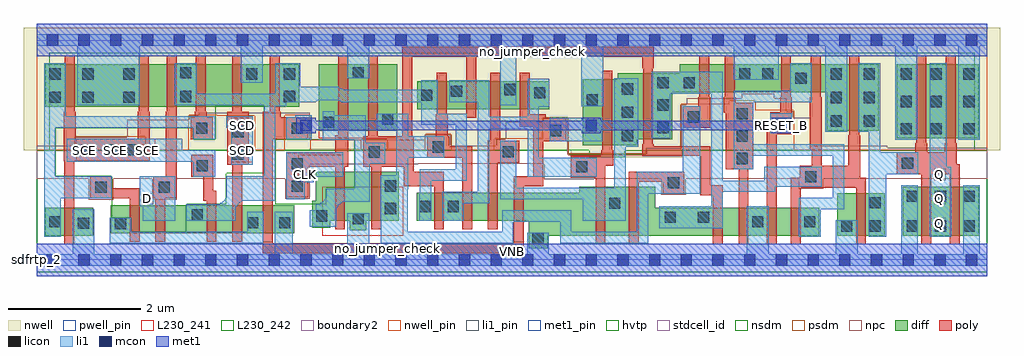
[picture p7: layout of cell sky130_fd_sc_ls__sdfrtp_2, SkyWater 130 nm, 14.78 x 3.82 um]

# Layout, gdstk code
import gdstk
lib = gdstk.Library(unit=1e-6, precision=1e-09)
def R(c, l, rs):  # rectangles x0, y0, x1, y1
    for r in rs: c.add(gdstk.rectangle(r[:2], r[2:], *l))
def A(c, l, x, y, w, h, nx, ny, dx, dy):  # array of equal rectangles
    R(c, l, [(x+i*dx, y+j*dy, x+i*dx+w, y+j*dy+h) for i in range(nx) for j in range(ny)])
def P(c, l, *ps):  # polygons
    for p in ps: c.add(gdstk.Polygon(p, *l))
nwell_pin = (64, 16)
nwell = (64, 20)
diff = (65, 20)
poly = (66, 20)
licon = (66, 44)
li1_pin = (67, 16)
li1 = (67, 20)
mcon = (67, 44)
met1_pin = (68, 16)
met1 = (68, 20)
hvtp = (78, 44)
stdcell_id = (81, 4)
nsdm = (93, 44)
psdm = (94, 20)
npc = (95, 20)
pwell_pin = (122, 16)
L230_241 = (230, 241)
L230_242 = (230, 242)
boundary2 = (236, 0)

sky130_fd_sc_ls__sdfrtp_ = lib.new_cell('sky130_fd_sc_ls__sdfrtp_2')
R(sky130_fd_sc_ls__sdfrtp_, nwell_pin, [(0,3.085,14.4,3.33)])
P(sky130_fd_sc_ls__sdfrtp_, nwell, [(14.59,3.52),(-0.19,3.52),(-0.19,1.66),(4.125,1.66),(4.125,1.675),(5.585,1.675),(5.585,1.66),(8.09,1.66),(8.09,1.555),(9.78,1.555),(9.78,1.66),(14.59,1.66)])
R(sky130_fd_sc_ls__sdfrtp_, diff, [(0.135,0.37,0.855,0.79), (12.125,0.37,12.845,1.01), (13.115,0.37,14.265,1.11), (1.125,0.405,3.905,0.825), (13.025,1.84,14.265,2.96), (4.275,1.96,5.465,2.96), (5.765,2.285,7.765,2.705), (0.135,2.32,3.975,2.96)])
P(sky130_fd_sc_ls__sdfrtp_, diff, [(5.485,1.335),(4.225,1.335),(4.225,0.9),(4.175,0.9),(4.175,0.49),(4.445,0.49),(4.445,0.595),(4.745,0.595),(4.745,0.45),(4.995,0.45),(4.995,0.595),(5.485,0.595)],
  [(12.755,2.96),(9.74,2.96),(9.74,2.83),(8.805,2.83),(8.805,2.735),(8.27,2.735),(8.27,1.735),(9.095,1.735),(9.095,1.83),(9.625,1.83),(9.625,2.54),(11.965,2.54),(11.965,1.96),(12.755,1.96)],
  [(11.855,0.79),(9.37,0.79),(9.37,1.11),(8.215,1.11),(8.215,1.015),(5.755,1.015),(5.755,0.595),(7.455,0.595),(7.455,0.18),(7.745,0.18),(7.745,0.37),(11.855,0.37)])
P(sky130_fd_sc_ls__sdfrtp_, poly, [(1.56,1.085),(1.14,1.085),(1.14,1.265),(0.81,1.265),(0.81,0.935),(1.41,0.935),(1.41,0.275),(1.56,0.275)],
  [(2.725,1.05),(2.675,1.05),(2.675,1.59),(2.345,1.59),(2.345,1.26),(2.525,1.26),(2.525,0.9),(2.575,0.9),(2.575,0.275),(2.725,0.275)],
  [(2.665,2.16),(2.575,2.16),(2.575,2.245),(2.56,2.245),(2.56,3.09),(2.41,3.09),(2.41,2.245),(2.395,2.245),(2.395,2.16),(2.335,2.16),(2.335,1.83),(2.665,1.83)],
  [(2.125,2.245),(2.12,2.245),(2.12,3.09),(1.97,3.09),(1.97,2.245),(1.955,2.245),(1.955,1.265),(1.77,1.265),(1.77,0.935),(1.8,0.935),(1.8,0.275),(1.95,0.275),(1.95,0.935),(2.125,0.935)],
  [(13.98,1.45),(13.935,1.45),(13.935,1.765),(13.92,1.765),(13.92,3.09),(13.77,3.09),(13.77,1.765),(13.755,1.765),(13.755,1.63),(13.485,1.63),(13.485,1.765),(13.47,1.765),(13.47,3.09),(13.32,3.09),(13.32,1.765),(13.305,1.765),(13.305,1.63),(13.025,1.63),(13.025,1.3),(13.4,1.3),(13.4,0.24),(13.55,0.24),(13.55,1.3),(13.83,1.3),(13.83,0.24),(13.98,0.24)],
  [(8.73,1.66),(8.715,1.66),(8.715,2.865),(8.565,2.865),(8.565,1.66),(8.55,1.66),(8.55,1.575),(8.09,1.575),(8.09,1.245),(8.465,1.245),(8.465,0.24),(8.615,0.24),(8.615,1.425),(8.73,1.425)],
  [(12.56,1.245),(12.475,1.245),(12.475,1.885),(12.46,1.885),(12.46,3.09),(12.31,3.09),(12.31,1.885),(12.295,1.885),(12.295,1.425),(11.89,1.425),(11.89,2.465),(11.875,2.465),(11.875,3.09),(11.725,3.09),(11.725,2.465),(11.71,2.465),(11.71,1.665),(11.74,1.665),(11.74,1.425),(11.56,1.425),(11.56,1.245),(11.42,1.245),(11.42,0.24),(11.57,0.24),(11.57,1.095),(12.41,1.095),(12.41,0.24),(12.56,0.24)],
  [(9.81,1.335),(8.97,1.335),(8.97,0.24),(9.12,0.24),(9.12,1.185),(9.48,1.185),(9.48,1.005),(9.81,1.005)],
  [(1.715,2.245),(1.7,2.245),(1.7,3.09),(1.55,3.09),(1.55,2.245),(1.535,2.245),(1.535,1.835),(0.595,1.835),(0.595,2.245),(0.58,2.245),(0.58,3.09),(0.43,3.09),(0.43,2.245),(0.415,2.245),(0.415,1.505),(0.42,1.505),(0.42,0.24),(0.57,0.24),(0.57,1.505),(1.715,1.505)],
  [(3.215,2.245),(3.11,2.245),(3.11,3.09),(2.96,3.09),(2.96,2.245),(2.885,2.245),(2.885,1.44),(2.965,1.44),(2.965,0.275),(3.115,0.275),(3.115,1.44),(3.215,1.44)],
  [(4.72,3.09),(4.57,3.09),(4.57,1.885),(4.52,1.885),(4.52,1.62),(3.785,1.62),(3.785,0.95),(4.115,0.95),(4.115,1.41),(4.52,1.41),(4.52,0.465),(4.67,0.465),(4.67,1.41),(4.72,1.41)],
  [(6.6,1.725),(6.25,1.725),(6.25,1.875),(6.225,1.875),(6.225,2.21),(6.21,2.21),(6.21,2.835),(6.06,2.835),(6.06,2.21),(6.045,2.21),(6.045,1.875),(5.92,1.875),(5.92,1.545),(6.45,1.545),(6.45,0.465),(6.6,0.465)],
  [(11.44,2.465),(11.425,2.465),(11.425,3.09),(11.275,3.09),(11.275,2.465),(11.26,2.465),(11.26,2.235),(11.11,2.235),(11.11,2.055),(11.06,2.055),(11.06,0.24),(11.21,0.24),(11.21,1.905),(11.44,1.905)],
  [(10.85,2.38),(10.59,2.38),(10.59,2.465),(10.575,2.465),(10.575,3.09),(10.425,3.09),(10.425,2.465),(10.41,2.465),(10.41,2.23),(10.44,2.23),(10.44,1.37),(10.63,1.37),(10.63,0.24),(10.78,0.24),(10.78,1.37),(10.85,1.37)],
  [(10.39,1.13),(10.2,1.13),(10.2,1.725),(9.35,1.725),(9.35,1.755),(9.335,1.755),(9.335,2.905),(9.35,2.905),(9.35,3.225),(5.54,3.225),(5.54,1.875),(5.17,1.875),(5.17,3.09),(5.02,3.09),(5.02,1.875),(4.95,1.875),(4.95,1.41),(5.07,1.41),(5.07,0.465),(5.22,0.465),(5.22,1.41),(5.56,1.41),(5.56,1.115),(6.02,1.115),(6.02,0.465),(6.17,0.465),(6.17,1.335),(5.71,1.335),(5.71,1.875),(5.69,1.875),(5.69,3.075),(6.51,3.075),(6.51,2.155),(6.66,2.155),(6.66,3.075),(9.17,3.075),(9.17,2.905),(9.185,2.905),(9.185,1.755),(9.17,1.755),(9.17,1.575),(10.05,1.575),(10.05,0.98),(10.24,0.98),(10.24,0.24),(10.39,0.24)],
  [(7.31,1.805),(7.02,1.805),(7.02,2.835),(6.87,2.835),(6.87,1.805),(6.835,1.805),(6.835,0.465),(6.985,0.465),(6.985,1.475),(7.31,1.475)],
  [(10.2,2.465),(10.185,2.465),(10.185,3.09),(10.035,3.09),(10.035,2.465),(10.02,2.465),(10.02,2.33),(9.785,2.33),(9.785,2),(10.2,2)],
  [(8.025,2.145),(7.71,2.145),(7.71,2.21),(7.47,2.21),(7.47,2.835),(7.32,2.835),(7.32,2.015),(7.52,2.015),(7.52,1.265),(7.225,1.265),(7.225,0.255),(3.575,0.255),(3.575,1.83),(4.095,1.83),(4.095,1.85),(4.115,1.85),(4.115,2.16),(3.695,2.16),(3.695,2.245),(3.68,2.245),(3.68,3.09),(3.53,3.09),(3.53,2.245),(3.425,2.245),(3.425,0.105),(7.375,0.105),(7.375,1.115),(7.67,1.115),(7.67,1.795),(8.025,1.795)])
A(sky130_fd_sc_ls__sdfrtp_, licon, 13.175, 0.43, 0.17, 0.17, 3, 2, 0.43, 0.45)
A(sky130_fd_sc_ls__sdfrtp_, licon, 10.6, 1.45, 0.17, 0.17, 1, 3, 0, 0.34)
A(sky130_fd_sc_ls__sdfrtp_, licon, 0.685, 1.585, 0.17, 0.17, 3, 1, 0.34, 0)
A(sky130_fd_sc_ls__sdfrtp_, licon, 8.865, 1.795, 0.17, 0.17, 1, 3, 0, 0.355)
A(sky130_fd_sc_ls__sdfrtp_, licon, 13.085, 1.9, 0.17, 0.17, 1, 3, 0, 0.415)
A(sky130_fd_sc_ls__sdfrtp_, licon, 13.535, 1.9, 0.17, 0.17, 1, 3, 0, 0.415)
A(sky130_fd_sc_ls__sdfrtp_, licon, 14.035, 1.9, 0.17, 0.17, 1, 3, 0, 0.415)
A(sky130_fd_sc_ls__sdfrtp_, licon, 9.4, 1.92, 0.17, 0.17, 1, 3, 0, 0.34)
A(sky130_fd_sc_ls__sdfrtp_, licon, 12.025, 2.02, 0.17, 0.17, 1, 3, 0, 0.355)
A(sky130_fd_sc_ls__sdfrtp_, licon, 12.525, 2.02, 0.17, 0.17, 1, 3, 0, 0.355)
R(sky130_fd_sc_ls__sdfrtp_, licon, [(7.51,0.24,7.68,0.41), (12.185,0.43,12.355,0.6), (12.615,0.43,12.785,0.6), (1.185,0.465,1.355,0.635), (0.625,0.47,0.795,0.64), (3.19,0.48,3.36,0.65), (3.675,0.48,3.845,0.65), (0.195,0.495,0.365,0.665), (10.835,0.495,11.005,0.665), (11.625,0.495,11.795,0.665), (4.785,0.54,4.955,0.71), (9.51,0.56,9.68,0.73), (10.015,0.56,10.185,0.73), (4.235,0.58,4.405,0.75), (2.35,0.595,2.52,0.765), (5.275,0.695,5.445,0.865), (5.795,0.725,5.965,0.895), (6.225,0.725,6.395,0.895), (8.67,0.775,8.84,0.945), (12.615,0.78,12.785,0.95), (0.89,1.015,1.06,1.185), (1.85,1.015,2.02,1.185), (3.865,1.03,4.035,1.2), (5.275,1.035,5.445,1.205), (9.56,1.085,9.73,1.255), (11.64,1.175,11.81,1.345), (8.17,1.325,8.34,1.495), (2.425,1.34,2.595,1.51), (3.865,1.37,4.035,1.54), (13.105,1.38,13.275,1.55), (2.965,1.52,3.135,1.69), (5.03,1.55,5.2,1.72), (7.06,1.555,7.23,1.725), (6,1.625,6.17,1.795), (2.965,1.86,3.135,2.03), (7.775,1.875,7.945,2.045), (2.415,1.91,2.585,2.08), (3.865,1.91,4.035,2.08), (11.19,1.985,11.36,2.155), (4.335,2,4.505,2.17), (5.235,2.045,5.405,2.215), (9.865,2.08,10.035,2.25), (8.33,2.34,8.5,2.51), (0.195,2.38,0.365,2.55), (0.695,2.38,0.865,2.55), (1.315,2.38,1.485,2.55), (2.175,2.39,2.345,2.56), (3.745,2.39,3.915,2.56), (5.825,2.41,5.995,2.58), (7.535,2.445,7.705,2.615), (6.275,2.47,6.445,2.64), (7.085,2.495,7.255,2.665), (9.8,2.6,9.97,2.77), (11.49,2.665,11.66,2.835), (0.195,2.73,0.365,2.9), (0.695,2.73,0.865,2.9), (1.315,2.73,1.485,2.9), (3.175,2.73,3.345,2.9), (3.745,2.73,3.915,2.9), (10.64,2.73,10.81,2.9), (10.99,2.73,11.16,2.9), (2.175,2.75,2.345,2.92), (4.785,2.75,4.955,2.92)])
A(sky130_fd_sc_ls__sdfrtp_, li1_pin, 13.595, 0.47, 0.17, 0.17, 1, 3, 0, 0.37)
A(sky130_fd_sc_ls__sdfrtp_, li1_pin, 0.635, 1.58, 0.17, 0.17, 3, 1, 0.48, 0)
R(sky130_fd_sc_ls__sdfrtp_, li1_pin, [(1.595,0.84,1.765,1.01), (3.995,1.21,4.165,1.38), (3.035,1.58,3.205,1.75), (3.035,1.95,3.205,2.12)])
R(sky130_fd_sc_ls__sdfrtp_, li1, [(7.775,1.795,8.57,2.15), (11.11,1.92,11.44,2.22)])
P(sky130_fd_sc_ls__sdfrtp_, li1, [(8.485,1.545),(7.605,1.545),(7.605,2.32),(7.765,2.32),(7.765,2.745),(7.435,2.745),(7.435,2.165),(6.855,2.165),(6.855,2.725),(6.25,2.725),(6.25,2.385),(6.685,2.385),(6.685,1.03),(6.145,1.03),(6.145,0.595),(6.47,0.595),(6.47,0.86),(6.855,0.86),(6.855,1.985),(7.435,1.985),(7.435,1.26),(8.485,1.26)],
  [(10.05,2.33),(9.785,2.33),(9.785,1.335),(9.09,1.335),(9.09,0.425),(8.1,0.425),(8.1,0.75),(7.05,0.75),(7.05,0.425),(5.62,0.425),(5.62,1.07),(5.63,1.07),(5.63,1.545),(6.175,1.545),(6.175,1.875),(5.63,1.875),(5.63,2.215),(5.155,2.215),(5.155,1.955),(5.45,1.955),(5.45,1.285),(5.215,1.285),(5.215,0.255),(7.22,0.255),(7.22,0.58),(7.93,0.58),(7.93,0.255),(9.26,0.255),(9.26,1.005),(10.05,1.005)],
  [(3.43,0.73),(3.19,0.73),(3.19,0.425),(1.435,0.425),(1.435,0.64),(1.105,0.64),(1.105,0.255),(3.43,0.255)],
  [(4.165,2.19),(3.92,2.19),(3.92,2.16),(3.785,2.16),(3.785,1.83),(4.165,1.83)],
  [(11.89,1.41),(11.02,1.41),(11.02,1.2),(10.39,1.2),(10.39,2.85),(9.32,2.85),(9.32,1.84),(9.6,1.84),(9.6,2.52),(10.22,2.52),(10.22,0.81),(9.43,0.81),(9.43,0.48),(10.39,0.48),(10.39,1.03),(11.19,1.03),(11.19,1.11),(11.89,1.11)],
  [(2.1,1.265),(1.565,1.265),(1.565,0.81),(1.605,0.81),(1.605,0.595),(2.1,0.595)],
  [(2.705,2.175),(0.445,2.175),(0.445,2.98),(0.115,2.98),(0.115,0.35),(0.365,0.35),(0.365,0.935),(1.14,0.935),(1.14,1.265),(0.285,1.265),(0.285,2.005),(2.375,2.005),(2.375,1.83),(2.705,1.83)],
  [(6.515,2.215),(6.075,2.215),(6.075,2.725),(5.825,2.725),(5.825,2.58),(4.645,2.58),(4.645,2.585),(4.63,2.585),(4.63,2.59),(4.61,2.59),(4.61,2.6),(4.58,2.6),(4.58,2.62),(3.995,2.62),(3.995,2.98),(3.615,2.98),(3.615,2.515),(2.425,2.515),(2.425,2.98),(2.095,2.98),(2.095,2.345),(3.445,2.345),(3.445,1.27),(2.875,1.27),(2.875,0.935),(2.855,0.935),(2.855,0.91),(2.84,0.91),(2.84,0.89),(2.83,0.89),(2.83,0.88),(2.81,0.88),(2.81,0.865),(2.785,0.865),(2.785,0.845),(2.27,0.845),(2.27,0.595),(3.02,0.595),(3.02,0.81),(3.04,0.81),(3.04,0.835),(3.055,0.835),(3.055,0.855),(3.065,0.855),(3.065,0.865),(3.085,0.865),(3.085,0.88),(3.11,0.88),(3.11,0.9),(3.615,0.9),(3.615,2.33),(3.785,2.33),(3.785,2.385),(4.23,2.385),(4.23,2.4),(4.25,2.4),(4.25,2.42),(4.555,2.42),(4.555,2.415),(4.57,2.415),(4.57,2.41),(4.59,2.41),(4.59,2.4),(4.615,2.4),(4.615,2.385),(5.825,2.385),(5.825,2.045),(6.345,2.045),(6.345,1.37),(5.8,1.37),(5.8,0.995),(5.795,0.995),(5.795,0.595),(5.975,0.595),(5.975,1.2),(6.515,1.2)],
  [(14.4,0.085),(14.285,0.085),(14.285,1.13),(14.035,1.13),(14.035,0.085),(13.345,0.085),(13.345,1.13),(13.095,1.13),(13.095,0.085),(12.435,0.085),(12.435,0.6),(12.105,0.6),(12.105,0.085),(11.085,0.085),(11.085,0.81),(10.755,0.81),(10.755,0.085),(7.76,0.085),(7.76,0.41),(7.43,0.41),(7.43,0.085),(5.035,0.085),(5.035,0.71),(4.705,0.71),(4.705,0.085),(3.88,0.085),(3.88,0.73),(3.61,0.73),(3.61,0.085),(0.875,0.085),(0.875,0.765),(0.545,0.765),(0.545,0.085),(0,0.085),(0,-0.085),(14.4,-0.085)],
  [(5.28,1.775),(4.985,1.775),(4.985,2.195),(4.505,2.195),(4.505,2.25),(4.335,2.25),(4.335,1.82),(4.815,1.82),(4.815,1.08),(4.39,1.08),(4.39,0.935),(4.37,0.935),(4.37,0.91),(4.355,0.91),(4.355,0.89),(4.345,0.89),(4.345,0.88),(4.325,0.88),(4.325,0.865),(4.3,0.865),(4.3,0.845),(4.23,0.845),(4.23,0.75),(4.135,0.75),(4.135,0.5),(4.535,0.5),(4.535,0.79),(4.555,0.79),(4.555,0.815),(4.57,0.815),(4.57,0.835),(4.58,0.835),(4.58,0.845),(4.6,0.845),(4.6,0.86),(4.625,0.86),(4.625,0.88),(5.045,0.88),(5.045,1.455),(5.28,1.455)],
  [(9.115,2.755),(8.75,2.755),(8.75,1.09),(7.265,1.09),(7.265,1.805),(7.025,1.805),(7.025,0.92),(8.27,0.92),(8.27,0.595),(8.92,0.595),(8.92,1.715),(9.115,1.715)],
  [(4.645,1.63),(3.785,1.63),(3.785,0.92),(4.06,0.92),(4.06,1.18),(4.195,1.18),(4.195,1.26),(4.645,1.26)],
  [(2.705,1.66),(2.205,1.66),(2.205,1.835),(0.455,1.835),(0.455,1.49),(2.375,1.49),(2.375,1.26),(2.705,1.26)],
  [(13.355,1.63),(12.775,1.63),(12.775,2.98),(12.445,2.98),(12.445,1.94),(12.605,1.94),(12.605,0.35),(12.865,0.35),(12.865,1.3),(13.355,1.3)],
  [(3.275,2.175),(2.875,2.175),(2.875,2),(2.945,2),(2.945,1.44),(3.275,1.44)],
  [(14.4,3.415),(0,3.415),(0,3.245),(0.615,3.245),(0.615,2.345),(1.565,2.345),(1.565,3.245),(3.095,3.245),(3.095,2.685),(3.425,2.685),(3.425,3.245),(4.705,3.245),(4.705,2.75),(5.035,2.75),(5.035,3.245),(7.025,3.245),(7.025,2.345),(7.265,2.345),(7.265,3.245),(8.245,3.245),(8.245,2.33),(8.58,2.33),(8.58,3.245),(10.56,3.245),(10.56,2.73),(11.24,2.73),(11.24,3.245),(11.945,3.245),(11.945,1.94),(12.275,1.94),(12.275,3.245),(13.005,3.245),(13.005,1.82),(13.335,1.82),(13.335,3.245),(13.955,3.245),(13.955,1.82),(14.285,1.82),(14.285,3.245),(14.4,3.245)],
  [(12.23,1.75),(10.85,1.75),(10.85,2.39),(11.74,2.39),(11.74,2.98),(11.41,2.98),(11.41,2.56),(10.56,2.56),(10.56,1.37),(10.85,1.37),(10.85,1.58),(12.06,1.58),(12.06,0.94),(11.545,0.94),(11.545,0.35),(11.875,0.35),(11.875,0.77),(12.23,0.77)],
  [(13.855,1.41),(13.785,1.41),(13.785,2.98),(13.525,2.98),(13.525,0.35),(13.855,0.35)])
A(sky130_fd_sc_ls__sdfrtp_, mcon, 0.155, -0.085, 0.17, 0.17, 30, 2, 0.48, 3.33)
R(sky130_fd_sc_ls__sdfrtp_, mcon, [(3.995,1.95,4.165,2.12), (8.315,1.95,8.485,2.12), (11.195,1.95,11.365,2.12)])
R(sky130_fd_sc_ls__sdfrtp_, met1_pin, [(0,0,14.4,0.245), (11.195,1.95,11.365,2.12), (0,3.085,14.4,3.33)])
R(sky130_fd_sc_ls__sdfrtp_, met1, [(0,-0.245,14.4,0.245), (0,3.085,14.4,3.575)])
P(sky130_fd_sc_ls__sdfrtp_, met1, [(11.425,2.15),(11.135,2.15),(11.135,2.105),(8.545,2.105),(8.545,2.15),(8.255,2.15),(8.255,2.105),(4.225,2.105),(4.225,2.15),(3.935,2.15),(3.935,1.92),(4.225,1.92),(4.225,1.965),(8.255,1.965),(8.255,1.92),(8.545,1.92),(8.545,1.965),(11.135,1.965),(11.135,1.92),(11.425,1.92)])
P(sky130_fd_sc_ls__sdfrtp_, hvtp, [(14.21,3.14),(0.19,3.14),(0.19,1.66),(8.37,1.66),(8.37,1.555),(8.91,1.555),(8.91,1.65),(9.53,1.65),(9.53,1.66),(14.21,1.66)])
R(sky130_fd_sc_ls__sdfrtp_, stdcell_id, [(0,0,14.4,3.33)])
P(sky130_fd_sc_ls__sdfrtp_, nsdm, [(14.4,1.66),(9.225,1.66),(9.225,1.605),(8.055,1.605),(8.055,1.66),(0,1.66),(0,-0.19),(14.4,-0.19)])
P(sky130_fd_sc_ls__sdfrtp_, psdm, [(14.4,3.52),(0,3.52),(0,1.66),(0.575,1.66),(0.575,1.865),(1.645,1.865),(1.645,1.66),(2.305,1.66),(2.305,2.19),(2.735,2.19),(2.735,2.18),(3.305,2.18),(3.305,1.66),(3.755,1.66),(3.755,2.19),(4.145,2.19),(4.145,1.66),(4.92,1.66),(4.92,1.83),(5.31,1.83),(5.31,1.66),(5.89,1.66),(5.89,1.905),(6.28,1.905),(6.28,1.66),(6.93,1.66),(6.93,1.835),(7.665,1.835),(7.665,2.155),(8.055,2.155),(8.055,1.605),(9.225,1.605),(9.225,1.66),(9.755,1.66),(9.755,2.36),(10.49,2.36),(10.49,2.41),(10.88,2.41),(10.88,2.265),(11.47,2.265),(11.47,1.66),(14.4,1.66)])
P(sky130_fd_sc_ls__sdfrtp_, npc, [(14.4,1.7),(12.885,1.7),(12.885,1.73),(11.725,1.73),(11.725,2.15),(11.46,2.15),(11.46,2.255),(11.355,2.255),(11.355,2.45),(11.17,2.45),(11.17,2.52),(10.68,2.52),(10.68,2.45),(9.845,2.45),(9.845,2.35),(9.765,2.35),(9.765,1.69),(9.235,1.69),(9.235,1.595),(8.045,1.595),(8.045,2.145),(7.675,2.145),(7.675,2.09),(7.105,2.09),(7.105,1.825),(6.96,1.825),(6.96,1.73),(6.27,1.73),(6.27,1.895),(5.88,1.895),(5.88,1.82),(4.135,1.82),(4.135,2.23),(2.46,2.23),(2.46,2.18),(2.315,2.18),(2.315,2.12),(1.37,2.12),(1.37,1.855),(0.585,1.855),(0.585,1.73),(0,1.73),(0,1.23),(0.79,1.23),(0.79,0.915),(1.16,0.915),(1.16,1.23),(1.75,1.23),(1.75,0.915),(2.12,0.915),(2.12,1.23),(3.765,1.23),(3.765,0.93),(4.135,0.93),(4.135,1.45),(5.77,1.45),(5.77,1.455),(7.685,1.455),(7.685,1.225),(8.44,1.225),(8.44,1.23),(9.46,1.23),(9.46,0.985),(9.83,0.985),(9.83,1.23),(11.54,1.23),(11.54,1.075),(11.91,1.075),(11.91,1.23),(14.4,1.23)])
R(sky130_fd_sc_ls__sdfrtp_, pwell_pin, [(0,0,14.4,0.245)])
R(sky130_fd_sc_ls__sdfrtp_, L230_241, [(4.33,0.37,5.55,1.11), (1.565,0.81,2.1,1.265), (2.945,1.48,3.275,2.15), (4.275,1.84,5.465,2.96)])
P(sky130_fd_sc_ls__sdfrtp_, L230_241, [(4.645,1.59),(3.965,1.59),(3.965,1.18),(4.195,1.18),(4.195,1.26),(4.645,1.26)],
  [(2.705,1.66),(1.795,1.66),(1.795,1.835),(0.605,1.835),(0.605,1.49),(2.375,1.49),(2.375,1.26),(2.705,1.26)])
P(sky130_fd_sc_ls__sdfrtp_, L230_242, [(7.375,0.275),(7.225,0.275),(7.225,0.255),(3.575,0.255),(3.575,0.275),(3.425,0.275),(3.425,0.105),(7.375,0.105)],
  [(3.445,2.345),(2.705,2.345),(2.705,1.83),(2.375,1.83),(2.375,2.005),(0.285,2.005),(0.285,1.265),(1.14,1.265),(1.14,0.64),(1.435,0.64),(1.435,0.425),(2.27,0.425),(2.27,0.845),(2.875,0.845),(2.875,1.31),(3.445,1.31)],
  [(4.815,1.82),(4.335,1.82),(4.335,1.83),(3.615,1.83),(3.615,0.845),(4.39,0.845),(4.39,1.09),(4.815,1.09)])
R(sky130_fd_sc_ls__sdfrtp_, boundary2, [(0,0,14.4,3.33)])
sky130_fd_sc_ls__sdfrtp_.add(gdstk.Label('no_jumper_check', (5.315,0.18), layer=83, texttype=44))
sky130_fd_sc_ls__sdfrtp_.add(gdstk.Label('no_jumper_check', (7.515,3.15), layer=83, texttype=44))
sky130_fd_sc_ls__sdfrtp_.add(gdstk.Label('sdfrtp_2', (0,0), layer=83, texttype=44))
sky130_fd_sc_ls__sdfrtp_.add(gdstk.Label('VNB', (7.2,0.123), layer=64, texttype=59))
sky130_fd_sc_ls__sdfrtp_.add(gdstk.Label('VPB', (7.2,3.208), layer=64, texttype=5))
sky130_fd_sc_ls__sdfrtp_.add(gdstk.Label('RESET_B', (11.28,2.035), layer=68, texttype=5))
sky130_fd_sc_ls__sdfrtp_.add(gdstk.Label('VPWR', (7.2,3.208), layer=68, texttype=5))
sky130_fd_sc_ls__sdfrtp_.add(gdstk.Label('VGND', (7.2,0.123), layer=68, texttype=5))
sky130_fd_sc_ls__sdfrtp_.add(gdstk.Label('D', (1.68,0.925), layer=67, texttype=5))
sky130_fd_sc_ls__sdfrtp_.add(gdstk.Label('SCE', (0.72,1.665), layer=67, texttype=5))
sky130_fd_sc_ls__sdfrtp_.add(gdstk.Label('SCE', (1.2,1.665), layer=67, texttype=5))
sky130_fd_sc_ls__sdfrtp_.add(gdstk.Label('SCE', (1.68,1.665), layer=67, texttype=5))
sky130_fd_sc_ls__sdfrtp_.add(gdstk.Label('SCD', (3.12,1.665), layer=67, texttype=5))
sky130_fd_sc_ls__sdfrtp_.add(gdstk.Label('SCD', (3.12,2.035), layer=67, texttype=5))
sky130_fd_sc_ls__sdfrtp_.add(gdstk.Label('CLK', (4.08,1.295), layer=67, texttype=5))
sky130_fd_sc_ls__sdfrtp_.add(gdstk.Label('Q', (13.68,0.555), layer=67, texttype=5))
sky130_fd_sc_ls__sdfrtp_.add(gdstk.Label('Q', (13.68,0.925), layer=67, texttype=5))
sky130_fd_sc_ls__sdfrtp_.add(gdstk.Label('Q', (13.68,1.295), layer=67, texttype=5))

lib.write_gds('sky130_fd_sc_ls__sdfrtp_2.gds')
